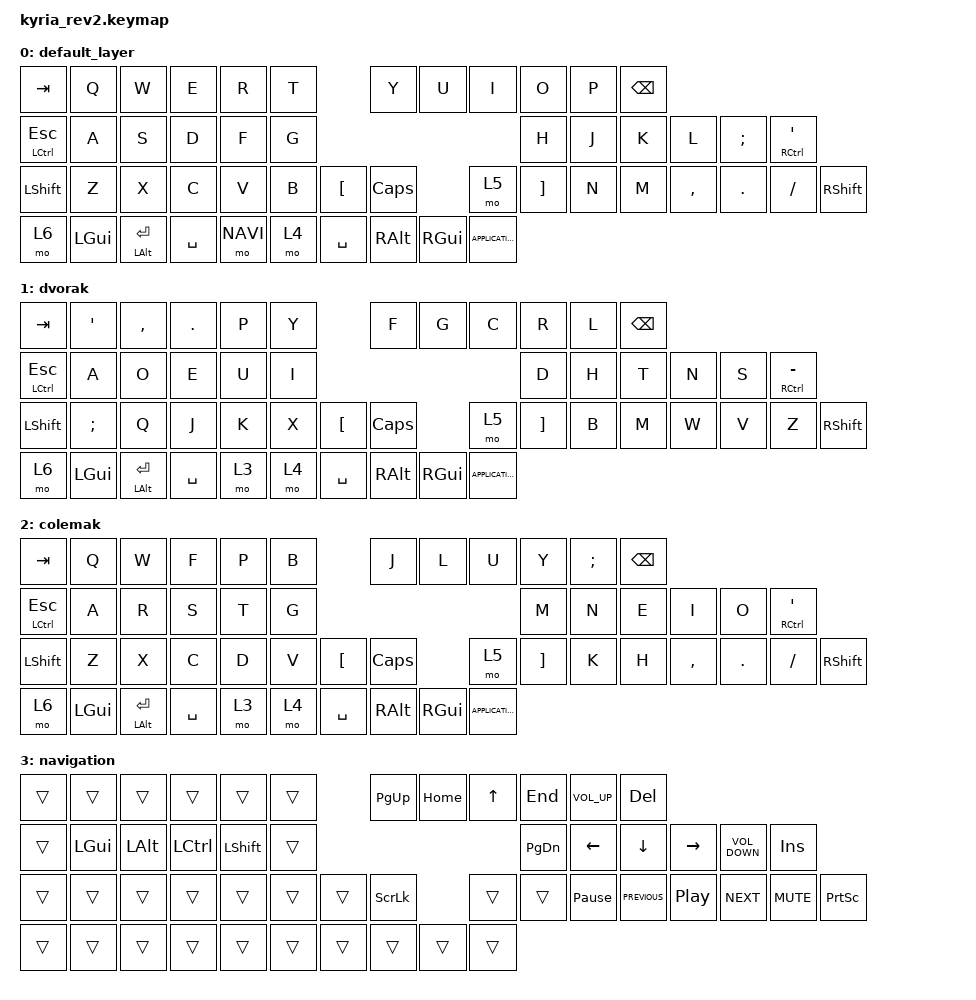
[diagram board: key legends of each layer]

  /*
  * Copyright (c) 2020 The ZMK Contributors
  *
  * SPDX-License-Identifier: MIT
  */

  #include <behaviors.dtsi>
  #include <dt-bindings/zmk/keys.h>
  #include <dt-bindings/zmk/bt.h>
  #include <dt-bindings/zmk/ext_power.h>

  #define DEFAULT 0
  #define DVORAK  1
  #define COLEMAK 2
  #define NAVI    3
  
  #define NONE 0

  / {
    keymap {
      compatible = "zmk,keymap";
        default_layer {
          bindings = <
          &kp TAB &kp Q &kp W &kp E &kp R &kp T &kp Y &kp U &kp I &kp O &kp P &kp BACKSPACE 
          &mt LEFT_CONTROL ESCAPE &kp A &kp S &kp D &kp F &kp G &kp H &kp J &kp K &kp L &kp SEMICOLON &mt RIGHT_CONTROL SINGLE_QUOTE
          &kp LEFT_SHIFT &kp Z &kp X &kp C &kp V &kp B &kp LEFT_BRACKET &kp CAPSLOCK &mo 5 &kp RIGHT_BRACKET &kp N &kp M &kp COMMA &kp DOT &kp SLASH &kp RIGHT_SHIFT 
          &mo 6 &kp LEFT_GUI &mt LEFT_ALT ENTER &kp SPACE &mo NAVI &mo 4 &kp SPACE &kp RIGHT_ALT &kp RIGHT_GUI &kp K_APPLICATION
          >;
        };
        dvorak {
          bindings = <
          &kp TAB &kp SINGLE_QUOTE &kp COMMA &kp DOT &kp P &kp Y &kp F &kp G &kp C &kp R &kp L &kp BACKSPACE 
          &mt LEFT_CONTROL ESCAPE &kp A &kp O &kp E &kp U &kp I &kp D &kp H &kp T &kp N &kp S &mt RIGHT_CONTROL MINUS
          &kp LEFT_SHIFT &kp SEMICOLON &kp Q &kp J &kp K &kp X &kp LEFT_BRACKET &kp CAPSLOCK &mo 5 &kp RIGHT_BRACKET &kp B &kp M &kp W &kp V &kp Z &kp RIGHT_SHIFT 
          &mo 6 &kp LEFT_GUI &mt LEFT_ALT ENTER &kp SPACE &mo 3 &mo 4 &kp SPACE &kp RIGHT_ALT &kp RIGHT_GUI &kp K_APPLICATION
          >;
        };
        colemak {
          bindings = <
          &kp TAB &kp Q &kp W &kp F &kp P &kp B &kp J &kp L &kp U &kp Y &kp SEMICOLON &kp BACKSPACE
          &mt LEFT_CONTROL ESCAPE &kp A &kp R &kp S &kp T &kp G &kp M &kp N &kp E &kp I &kp O &mt RIGHT_CONTROL SINGLE_QUOTE
          &kp LEFT_SHIFT &kp Z &kp X &kp C &kp D &kp V &kp LEFT_BRACKET &kp CAPSLOCK &mo 5 &kp RIGHT_BRACKET &kp K &kp H &kp COMMA &kp DOT &kp SLASH &kp RIGHT_SHIFT 
          &mo 6 &kp LEFT_GUI &mt LEFT_ALT ENTER &kp SPACE &mo 3 &mo 4 &kp SPACE &kp RIGHT_ALT &kp RIGHT_GUI &kp K_APPLICATION
          >;
        };
        navigation {
          bindings = <
          &trans &trans &trans &trans &trans &trans &kp PAGE_UP &kp HOME &kp UP &kp END &kp C_VOLUME_UP &kp DELETE
          &trans &kp LEFT_GUI &kp LEFT_ALT &kp LEFT_CONTROL &kp LEFT_SHIFT &trans &kp PAGE_DOWN &kp LEFT &kp DOWN &kp RIGHT &kp C_VOLUME_DOWN &kp INSERT 
          &trans &trans &trans &trans &trans &trans &trans &kp SCROLLLOCK &trans &trans &kp PAUSE_BREAK &kp C_PREVIOUS &kp C_PLAY_PAUSE &kp C_NEXT &kp C_MUTE &kp PRINTSCREEN 
          &trans &trans &trans &trans &trans &trans &trans &trans &trans &trans
          >;
        };
        //layer4 {
        //  bindings = <
        //  &kp GRAVE &kp N1 &kp N2 &kp N3 &kp N4 &kp N5 &kp N6 &kp N7 &kp N8 &kp N9 &kp N0 &kp EQUAL 
        //  &kp KC_TILD &kp KC_EXLM &kp KC_AT &kp KC_HASH &kp KC_DLR &kp KC_PERC &kp KC_CIRC &kp KC_AMPR &kp KC_ASTR &kp KC_LPRN &kp KC_RPRN &kp KC_PLUS
        //  KC_PIPE &kp BACKSLASH KC_COLN &kp SEMICOLON &kp MINUS &kp LEFT_BRACKET KC_LCBR &trans &trans KC_RCBR &kp RIGHT_BRACKET KC_UNDS &kp COMMA &kp DOT &kp SLASH KC_QUES &trans &trans 
        //  &trans &trans &trans &trans &trans &trans &trans &trans
        //  >;
        //};layer5 {
        //  bindings = <
        //  &trans &kp F9 &kp F10 &kp F11 &kp F12 &trans &trans &trans &trans &trans &trans &trans &trans &kp F5 &kp F6 &kp F7 &kp F8 &trans &trans &kp RIGHT_SHIFT &kp RIGHT_CONTROL &kp LEFT_ALT &kp RIGHT_GUI &trans &trans &kp F1 &kp F2 &kp F3 &kp F4 &trans &trans &trans &trans &trans &trans &trans &trans &trans &trans &trans &trans &trans &trans &trans &trans &trans &trans &trans &trans &trans
        //  >;
        //};layer6 {
        //  bindings = <
        //  &trans &trans &trans DF(0) &trans &trans &trans &trans &trans &trans &trans &trans &trans &trans &trans DF(1) &trans &trans RGB_TOG RGB_SAI RGB_HUI RGB_VAI RGB_MOD &trans &trans &trans &trans DF(2) &trans &trans &trans &trans &trans &trans &trans RGB_SAD RGB_HUD RGB_VAD RGB_RMOD &trans &trans &trans &trans &trans &trans &trans &trans &trans &trans &trans
        //  >;
        //};
    };
  };

